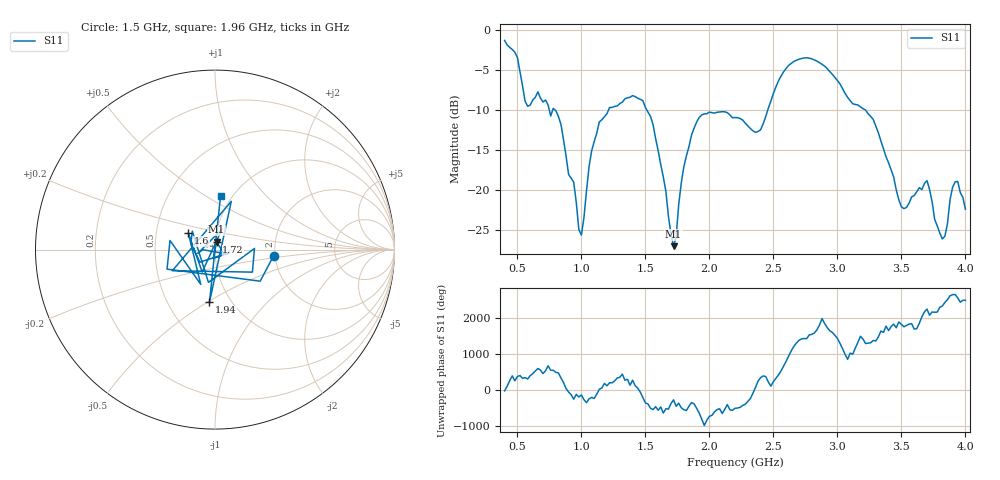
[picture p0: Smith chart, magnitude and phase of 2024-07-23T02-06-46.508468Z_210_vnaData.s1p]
!Created with skrf (http://scikit-rf.org).
# Hz S RI R 50.0
!freq ReS11 ImS11
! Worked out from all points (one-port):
!   181 points, 400 MHz to 4 GHz, reference 50 ohm
!   lowest |S11| = -27.1 dB at 1.72 GHz (marker M1), VSWR 1.09, Z = 50.7 + j4.4 ohm
!   |S11| at or under -10 dB: 795 MHz to 1.212 GHz (416.6 MHz wide, 41.5 % of centre); 1.511 GHz to 2.456 GHz (944.5 MHz wide, 47.6 % of centre); 3.22 GHz to end of sweep (the widest 3 of 4)
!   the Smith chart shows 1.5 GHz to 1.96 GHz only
!   S11 on the Smith chart (normalised r, x): 1.5 GHz: 1.96, -0.15; 1.6 GHz: 0.73, +0.14; 1.72 GHz: 1.01, +0.09; 1.94 GHz: 0.80, -0.51; 1.96 GHz: 0.89, +0.58
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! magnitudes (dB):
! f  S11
! 400 MHz  -1.3
! 500 MHz  -3.4
! 580 MHz  -9.5
! 660 MHz  -7.7
! 860 MHz  -13.7
! 1 GHz  -25.7
! 1.06 GHz  -17.1
! 1.14 GHz  -11.5
! 1.3 GHz  -9.2
! 1.5 GHz  -9.7
! 1.6 GHz  -15.1
! 1.72 GHz  -27.1
! 1.76 GHz  -21.9
! 1.86 GHz  -13.2
! 1.94 GHz  -10.6
! 1.96 GHz  -10.5
! 2.2 GHz  -10.9
! 2.4 GHz  -12.5
! 2.66 GHz  -3.9
! 2.88 GHz  -4.3
! 3.1 GHz  -8.8
! 3.28 GHz  -11.2
! 3.5 GHz  -22.1
! 3.56 GHz  -21.7
! 3.7 GHz  -18.9
! 3.82 GHz  -26.2
! 3.92 GHz  -19.0
! 4 GHz  -22.4
